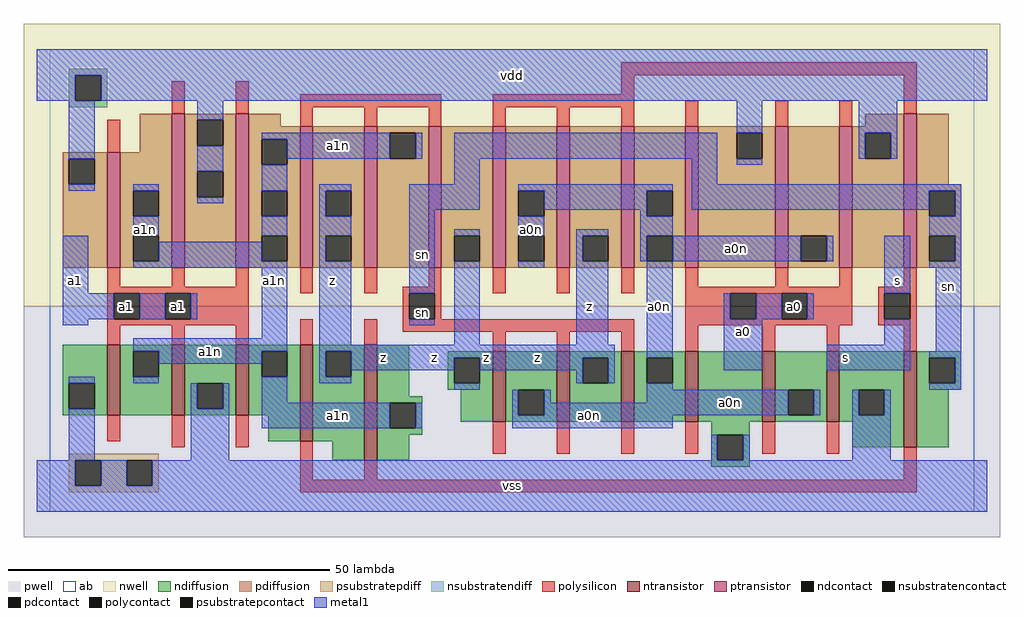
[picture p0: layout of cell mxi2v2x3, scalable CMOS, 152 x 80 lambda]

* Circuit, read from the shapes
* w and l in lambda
.subckt mxi2v2x3 a0 a0n a1 a1n s sn vdd vss z
M1 a1n a1 vss vss nfet w=11 l=2 m=3
M2 z s a1n vss nfet w=15 l=2
M3 a1n s z vss nfet w=18 l=2
M4 a0n sn z vss nfet w=11 l=2 m=3
M5 vss a0 a0n vss nfet w=11 l=2 m=3
M6 sn s vss vss nfet w=15 l=2
M7 a1n a1 vdd vdd pfet w=18 l=2
M8 vdd a1 a1n vdd pfet w=24 l=2 m=2
M9 z sn a1n vdd pfet w=22 l=2 m=3
M10 a0n s z vdd pfet w=22 l=2 m=3
M11 vdd a0 a0n vdd pfet w=22 l=2 m=3
M12 sn s vdd vdd pfet w=24 l=2
.ends

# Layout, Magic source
magic
tech scmos
<< ab >>
rect 0 0 144 72
<< pwell >>
rect -4 -4 148 32
<< nwell >>
rect -4 32 148 76
<< polysilicon >>
rect 89 68 135 70
rect 19 62 21 67
rect 29 62 31 67
rect 89 65 91 68
rect 39 63 61 65
rect 9 56 11 61
rect 39 60 41 63
rect 49 60 51 63
rect 59 60 61 63
rect 69 63 91 65
rect 69 60 71 63
rect 79 60 81 63
rect 89 60 91 63
rect 99 60 101 64
rect 113 60 115 64
rect 123 60 125 64
rect 133 62 135 68
rect 9 35 11 38
rect 19 35 21 38
rect 29 35 31 38
rect 9 34 31 35
rect 39 34 41 38
rect 49 34 51 38
rect 59 35 61 38
rect 55 34 61 35
rect 69 34 71 38
rect 79 34 81 38
rect 89 34 91 38
rect 99 35 101 38
rect 113 35 115 38
rect 123 35 125 38
rect 133 35 135 38
rect 99 34 125 35
rect 9 30 10 34
rect 14 30 18 34
rect 22 30 31 34
rect 55 30 56 34
rect 60 30 61 34
rect 99 30 106 34
rect 110 30 114 34
rect 118 30 125 34
rect 9 29 31 30
rect 9 26 11 29
rect 19 26 21 29
rect 29 26 31 29
rect 39 26 41 30
rect 49 26 51 30
rect 55 28 91 30
rect 9 11 11 15
rect 19 10 21 15
rect 29 10 31 15
rect 39 5 41 11
rect 69 25 71 28
rect 79 25 81 28
rect 89 25 91 28
rect 99 29 125 30
rect 129 34 135 35
rect 129 30 130 34
rect 134 30 135 34
rect 129 29 135 30
rect 99 25 101 29
rect 111 25 113 29
rect 121 25 123 29
rect 133 25 135 29
rect 69 9 71 14
rect 79 9 81 14
rect 89 9 91 14
rect 99 9 101 14
rect 111 9 113 14
rect 121 9 123 14
rect 49 5 51 8
rect 133 5 135 10
rect 39 3 135 5
<< ndiffusion >>
rect 2 20 9 26
rect 2 16 3 20
rect 7 16 9 20
rect 2 15 9 16
rect 11 25 19 26
rect 11 21 13 25
rect 17 21 19 25
rect 11 15 19 21
rect 21 20 29 26
rect 21 16 23 20
rect 27 16 29 20
rect 21 15 29 16
rect 31 25 39 26
rect 31 21 33 25
rect 37 21 39 25
rect 31 15 39 21
rect 34 11 39 15
rect 41 25 49 26
rect 41 21 43 25
rect 47 21 49 25
rect 41 11 49 21
rect 44 8 49 11
rect 51 18 56 26
rect 62 24 69 25
rect 62 20 63 24
rect 67 20 69 24
rect 62 19 69 20
rect 51 17 58 18
rect 51 13 53 17
rect 57 13 58 17
rect 64 14 69 19
rect 71 19 79 25
rect 71 15 73 19
rect 77 15 79 19
rect 71 14 79 15
rect 81 24 89 25
rect 81 20 83 24
rect 87 20 89 24
rect 81 14 89 20
rect 91 24 99 25
rect 91 20 93 24
rect 97 20 99 24
rect 91 14 99 20
rect 101 14 111 25
rect 113 19 121 25
rect 113 15 115 19
rect 119 15 121 19
rect 113 14 121 15
rect 123 19 133 25
rect 123 15 126 19
rect 130 15 133 19
rect 123 14 133 15
rect 51 12 58 13
rect 51 8 56 12
rect 103 12 109 14
rect 103 8 104 12
rect 108 8 109 12
rect 125 10 133 14
rect 135 24 142 25
rect 135 20 137 24
rect 141 20 142 24
rect 135 19 142 20
rect 135 10 140 19
rect 103 7 109 8
<< pdiffusion >>
rect 14 56 19 62
rect 2 55 9 56
rect 2 51 3 55
rect 7 51 9 55
rect 2 38 9 51
rect 11 50 19 56
rect 11 46 13 50
rect 17 46 19 50
rect 11 43 19 46
rect 11 39 13 43
rect 17 39 19 43
rect 11 38 19 39
rect 21 61 29 62
rect 21 57 23 61
rect 27 57 29 61
rect 21 53 29 57
rect 21 49 23 53
rect 27 49 29 53
rect 21 38 29 49
rect 31 60 36 62
rect 127 60 133 62
rect 31 58 39 60
rect 31 54 33 58
rect 37 54 39 58
rect 31 50 39 54
rect 31 46 33 50
rect 37 46 39 50
rect 31 43 39 46
rect 31 39 33 43
rect 37 39 39 43
rect 31 38 39 39
rect 41 50 49 60
rect 41 46 43 50
rect 47 46 49 50
rect 41 43 49 46
rect 41 39 43 43
rect 47 39 49 43
rect 41 38 49 39
rect 51 59 59 60
rect 51 55 53 59
rect 57 55 59 59
rect 51 38 59 55
rect 61 43 69 60
rect 61 39 63 43
rect 67 39 69 43
rect 61 38 69 39
rect 71 50 79 60
rect 71 46 73 50
rect 77 46 79 50
rect 71 43 79 46
rect 71 39 73 43
rect 77 39 79 43
rect 71 38 79 39
rect 81 43 89 60
rect 81 39 83 43
rect 87 39 89 43
rect 81 38 89 39
rect 91 50 99 60
rect 91 46 93 50
rect 97 46 99 50
rect 91 43 99 46
rect 91 39 93 43
rect 97 39 99 43
rect 91 38 99 39
rect 101 59 113 60
rect 101 55 107 59
rect 111 55 113 59
rect 101 38 113 55
rect 115 43 123 60
rect 115 39 117 43
rect 121 39 123 43
rect 115 38 123 39
rect 125 59 133 60
rect 125 55 127 59
rect 131 55 133 59
rect 125 38 133 55
rect 135 51 140 62
rect 135 50 142 51
rect 135 46 137 50
rect 141 46 142 50
rect 135 43 142 46
rect 135 39 137 43
rect 141 39 142 43
rect 135 38 142 39
<< metal1 >>
rect -2 68 146 72
rect -2 64 4 68
rect 8 64 146 68
rect 3 55 7 64
rect 23 61 27 64
rect 107 59 111 64
rect 23 53 27 57
rect 3 50 7 51
rect 13 50 17 51
rect 23 48 27 49
rect 33 58 53 59
rect 37 55 53 58
rect 57 55 58 59
rect 63 55 104 59
rect 33 50 37 54
rect 63 51 67 55
rect 100 51 104 55
rect 126 59 132 64
rect 126 55 127 59
rect 131 55 132 59
rect 107 54 111 55
rect 13 43 17 46
rect 2 34 6 43
rect 33 43 37 46
rect 17 39 33 42
rect 13 38 37 39
rect 2 30 10 34
rect 14 30 18 34
rect 22 30 23 34
rect 2 29 6 30
rect 33 27 37 38
rect 13 25 37 27
rect 17 23 33 25
rect 3 20 7 21
rect 13 20 17 21
rect 3 8 7 16
rect 22 16 23 20
rect 27 16 28 20
rect 22 8 28 16
rect 33 17 37 21
rect 42 50 47 51
rect 42 46 43 50
rect 42 43 47 46
rect 42 39 43 43
rect 42 26 47 39
rect 56 47 67 51
rect 73 50 97 51
rect 56 34 60 47
rect 77 47 93 50
rect 56 29 60 30
rect 63 43 67 44
rect 63 26 67 39
rect 73 43 77 46
rect 92 46 93 47
rect 100 50 142 51
rect 100 47 137 50
rect 73 38 77 39
rect 82 43 87 44
rect 82 39 83 43
rect 92 43 97 46
rect 141 46 142 50
rect 137 43 142 46
rect 92 39 93 43
rect 97 39 117 43
rect 121 39 122 43
rect 82 26 87 39
rect 42 25 88 26
rect 42 21 43 25
rect 47 24 88 25
rect 47 22 63 24
rect 42 20 47 21
rect 67 22 83 24
rect 82 20 83 22
rect 87 20 88 24
rect 93 24 97 39
rect 130 34 134 43
rect 141 39 142 43
rect 137 38 142 39
rect 105 30 106 34
rect 110 30 114 34
rect 118 30 119 34
rect 105 22 111 30
rect 130 26 134 30
rect 121 22 134 26
rect 138 25 142 38
rect 137 24 142 25
rect 63 19 67 20
rect 93 19 97 20
rect 141 20 142 24
rect 137 19 142 20
rect 33 13 53 17
rect 57 13 58 17
rect 72 15 73 19
rect 77 17 78 19
rect 93 17 115 19
rect 77 15 115 17
rect 119 15 120 19
rect 125 15 126 19
rect 130 15 131 19
rect 72 13 97 15
rect 103 8 104 12
rect 108 8 109 12
rect 125 8 131 15
rect -2 4 4 8
rect 8 4 12 8
rect 16 4 146 8
rect -2 0 146 4
<< ntransistor >>
rect 9 15 11 26
rect 19 15 21 26
rect 29 15 31 26
rect 39 11 41 26
rect 49 8 51 26
rect 69 14 71 25
rect 79 14 81 25
rect 89 14 91 25
rect 99 14 101 25
rect 111 14 113 25
rect 121 14 123 25
rect 133 10 135 25
<< ptransistor >>
rect 9 38 11 56
rect 19 38 21 62
rect 29 38 31 62
rect 39 38 41 60
rect 49 38 51 60
rect 59 38 61 60
rect 69 38 71 60
rect 79 38 81 60
rect 89 38 91 60
rect 99 38 101 60
rect 113 38 115 60
rect 123 38 125 60
rect 133 38 135 62
<< polycontact >>
rect 10 30 14 34
rect 18 30 22 34
rect 56 30 60 34
rect 106 30 110 34
rect 114 30 118 34
rect 130 30 134 34
<< ndcontact >>
rect 3 16 7 20
rect 13 21 17 25
rect 23 16 27 20
rect 33 21 37 25
rect 43 21 47 25
rect 63 20 67 24
rect 53 13 57 17
rect 73 15 77 19
rect 83 20 87 24
rect 93 20 97 24
rect 115 15 119 19
rect 126 15 130 19
rect 104 8 108 12
rect 137 20 141 24
<< pdcontact >>
rect 3 51 7 55
rect 13 46 17 50
rect 13 39 17 43
rect 23 57 27 61
rect 23 49 27 53
rect 33 54 37 58
rect 33 46 37 50
rect 33 39 37 43
rect 43 46 47 50
rect 43 39 47 43
rect 53 55 57 59
rect 63 39 67 43
rect 73 46 77 50
rect 73 39 77 43
rect 83 39 87 43
rect 93 46 97 50
rect 93 39 97 43
rect 107 55 111 59
rect 117 39 121 43
rect 127 55 131 59
rect 137 46 141 50
rect 137 39 141 43
<< psubstratepcontact >>
rect 4 4 8 8
rect 12 4 16 8
<< nsubstratencontact >>
rect 4 64 8 68
<< psubstratepdiff >>
rect 3 8 17 9
rect 3 4 4 8
rect 8 4 12 8
rect 16 4 17 8
rect 3 3 17 4
<< nsubstratendiff >>
rect 3 68 9 69
rect 3 64 4 68
rect 8 64 9 68
rect 3 63 9 64
<< labels >>
rlabel polycontact 58 31 58 31 6 sn
rlabel polycontact 20 32 20 32 6 a1
rlabel polycontact 12 32 12 32 6 a1
rlabel metal1 4 36 4 36 6 a1
rlabel metal1 15 44 15 44 6 a1n
rlabel metal1 25 25 25 25 6 a1n
rlabel metal1 52 24 52 24 6 z
rlabel metal1 44 36 44 36 6 z
rlabel metal1 35 36 35 36 6 a1n
rlabel metal1 72 4 72 4 6 vss
rlabel metal1 45 15 45 15 6 a1n
rlabel metal1 60 24 60 24 6 z
rlabel metal1 76 24 76 24 6 z
rlabel metal1 68 24 68 24 6 z
rlabel metal1 84 32 84 32 6 z
rlabel metal1 75 44 75 44 6 a0n
rlabel metal1 58 40 58 40 6 sn
rlabel metal1 45 57 45 57 6 a1n
rlabel metal1 72 68 72 68 6 vdd
rlabel metal1 84 15 84 15 6 a0n
rlabel metal1 108 28 108 28 6 a0
rlabel metal1 95 32 95 32 6 a0n
rlabel metal1 106 17 106 17 6 a0n
rlabel metal1 124 24 124 24 6 s
rlabel polycontact 116 32 116 32 6 a0
rlabel metal1 132 36 132 36 6 s
rlabel metal1 107 41 107 41 6 a0n
rlabel metal1 140 35 140 35 6 sn
<< end >>
